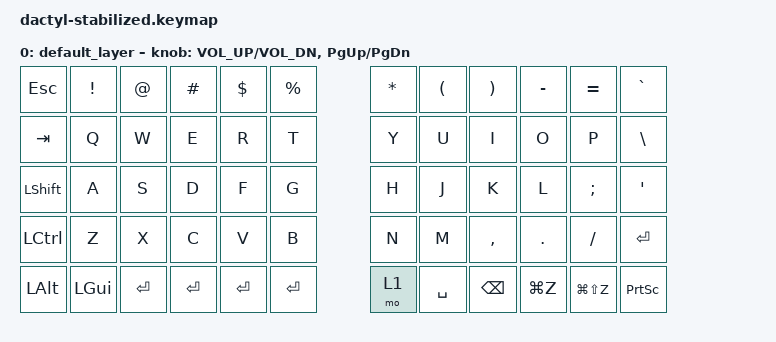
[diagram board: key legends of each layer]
/*
 * Copyright (c) 2020 The ZMK Contributors
 *
 * SPDX-License-Identifier: MIT
 */

 #include <behaviors.dtsi>
 #include <dt-bindings/zmk/keys.h>
 #include <dt-bindings/zmk/bt.h>
 #include <dt-bindings/zmk/outputs.h>
 
 / {
     keymap {
         compatible = "zmk,keymap";
 
         // TODO: SWAP SHIFTED KEYS SOMEHOW
         default_layer {
 // ------------------------------------------------------------------------------------------------------------
 // |  ESC  |  !  |  @  |   #  |   $   |   %   |   ^   |  |   &   |   *   |  (    |  )    |  -   |   +   |   `   |
 // |  TAB  |  Q  |  W  |   E  |   R   |   T   |   [   |  |   ]   |   Y   |  U    |  I    |  O   |   P   |   \   |
 // | SHIFT |  A  |  S  |   D  |   F   |   G   |   (   |  |   )   |   H   |  J    |  K    |  L   |   ;   |   '   |
 // |  CTRL |  Z  |  X  |   C  |   V   |   B   |       |  |       |   N   |  M    |  ,    |  .   |   /   | ENTER |
 //         | XXX | ALT |  GUI | ENTER | RAISE | LOWER |  | RAISE | LOWER | SPACE | BSPC  | UNDO |   DO  |
 //
             bindings = <
 &kp ESC    &kp EXCL &kp AT   &kp HASH &kp DOLLAR &kp PRCNT          &kp ASTRK &kp LPAR  &kp RPAR  &kp MINUS   &kp EQUAL   &kp GRAVE
 &kp TAB    &kp Q    &kp W    &kp E    &kp R      &kp T              &kp Y     &kp U     &kp I     &kp O       &kp P       &kp BSLH
 &kp LSHFT  &kp A    &kp S    &kp D    &kp F      &kp G              &kp H     &kp J     &kp K     &kp L       &kp SEMI    &kp SQT
 &kp LCTRL  &kp Z    &kp X    &kp C    &kp V      &kp B              &kp N     &kp M     &kp COMMA &kp DOT     &kp FSLH    &kp ENTER
 &kp LALT &kp LGUI &kp ENTER  &kp ENTER     &kp ENTER     &kp ENTER              &mo 1     &kp SPACE &kp BSPC  &kp LG(Z)   &kp LG(LS(Z)) &kp PRINTSCREEN
             >;
 
             sensor-bindings = <&inc_dec_kp C_VOL_UP C_VOL_DN &inc_dec_kp PG_UP PG_DN>;
         };
      };
     };
